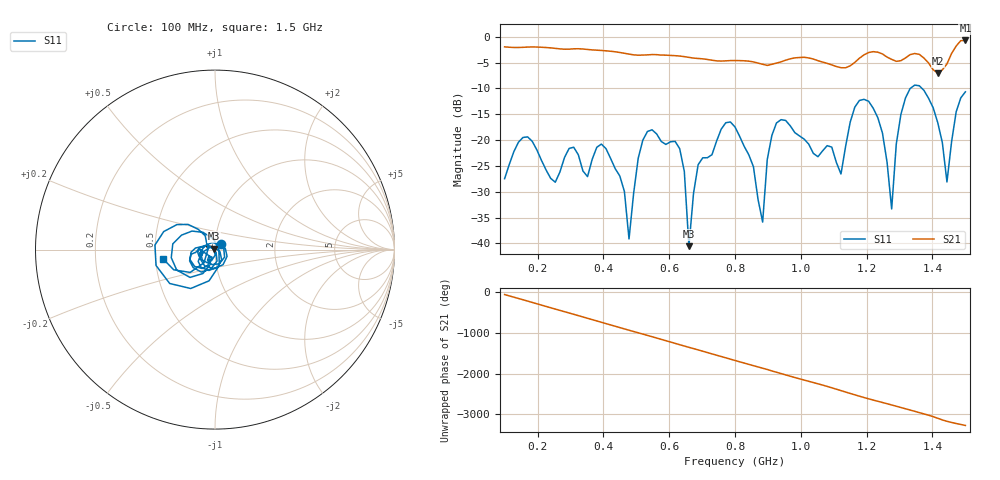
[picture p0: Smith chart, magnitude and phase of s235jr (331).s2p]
! NanoVNA-App
! Date: 2025-09-25 15:06:44
! Start: 100MHz Stop: 1,5GHz Points: 101
! S-Parameter data: F S11 S21 S12 S22
# Hz S RI R 50
!  Frequency  S11_Real  S11_Imag  S21_Real  S21_Imag  S12_Real  S12_Imag  S22_Real  S22_Imag
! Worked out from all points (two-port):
!   101 points, 100 MHz to 1.5 GHz, reference 50 ohm
!   highest |S21| = -0.72 dB at 1.5 GHz (marker M1); lowest = -7.1 dB at 1.416 GHz (marker M2)
!   |S21| within 3 dB of the highest: start of sweep to 629.6 MHz; 1.187 GHz to 1.257 GHz (69.57 MHz wide, 5.69 % of centre) (the widest 2 of 4)
!   lowest |S11| = -40.5 dB at 660 MHz (marker M3), VSWR 1.02, Z = 49.3 + j0.599 ohm
!   |S11| at or under -10 dB: start of sweep to 1.333 GHz; 1.368 GHz to end of sweep
!   S12 and S22 are empty: the file has one direction only
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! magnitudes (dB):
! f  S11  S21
! 100 MHz  -27.5  -2.0
! 170 MHz  -19.4  -2.0
! 338 MHz  -26.0  -2.4
! 408 MHz  -21.7  -2.7
! 478 MHz  -39.1  -3.4
! 520 MHz  -20.0  -3.6
! 576 MHz  -20.3  -3.6
! 632 MHz  -21.7  -3.7
! 660 MHz  -40.5  -4.0
! 688 MHz  -24.8  -4.2
! 800 MHz  -17.5  -4.6
! 884 MHz  -35.9  -5.3
! 926 MHz  -16.7  -5.1
! 1.038 GHz  -22.6  -4.3
! 1.122 GHz  -26.6  -6.0
! 1.206 GHz  -12.5  -3.1
! 1.276 GHz  -33.3  -4.4
! 1.29 GHz  -20.8  -4.8
! 1.332 GHz  -10.0  -3.5
! 1.416 GHz  -16.6  -7.1
! 1.444 GHz  -28.1  -5.3
! 1.5 GHz  -10.7  -0.7
